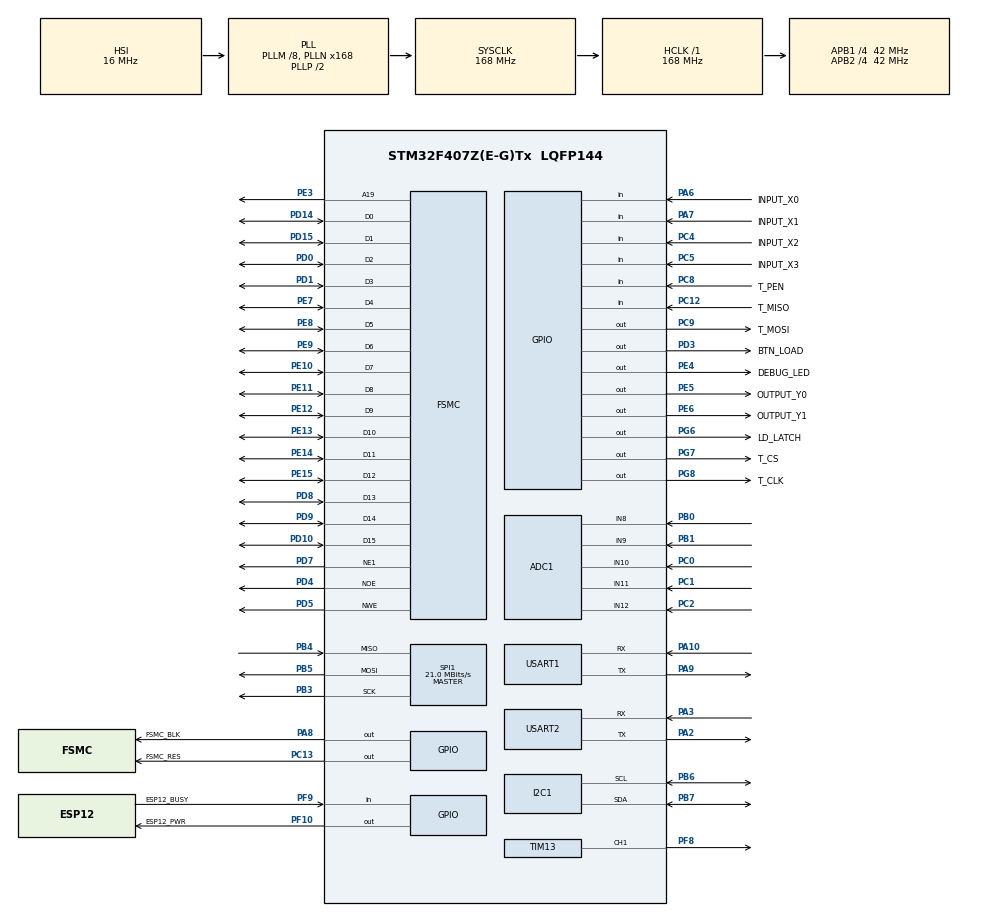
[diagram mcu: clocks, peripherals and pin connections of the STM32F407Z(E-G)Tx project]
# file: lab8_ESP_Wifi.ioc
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ADC1.Channel-0\#ChannelRegularConversion=ADC_CHANNEL_8
ADC1.Channel-1\#ChannelRegularConversion=ADC_CHANNEL_9
ADC1.Channel-2\#ChannelRegularConversion=ADC_CHANNEL_10
ADC1.Channel-3\#ChannelRegularConversion=ADC_CHANNEL_11
ADC1.Channel-4\#ChannelRegularConversion=ADC_CHANNEL_12
ADC1.NbrOfConversion=5
ADC1.NbrOfConversionFlag=1
ADC1.Rank-0\#ChannelRegularConversion=1
ADC1.Rank-1\#ChannelRegularConversion=2
ADC1.Rank-2\#ChannelRegularConversion=3
ADC1.Rank-3\#ChannelRegularConversion=4
ADC1.Rank-4\#ChannelRegularConversion=5
ADC1.SamplingTime-0\#ChannelRegularConversion=ADC_SAMPLETIME_3CYCLES
ADC1.SamplingTime-1\#ChannelRegularConversion=ADC_SAMPLETIME_3CYCLES
ADC1.SamplingTime-2\#ChannelRegularConversion=ADC_SAMPLETIME_3CYCLES
ADC1.SamplingTime-3\#ChannelRegularConversion=ADC_SAMPLETIME_3CYCLES
ADC1.SamplingTime-4\#ChannelRegularConversion=ADC_SAMPLETIME_3CYCLES
ADC1.ScanConvMode=ENABLE
ADC1.master=1
Dma.ADC1.0.Direction=DMA_PERIPH_TO_MEMORY
Dma.ADC1.0.FIFOMode=DMA_FIFOMODE_DISABLE
Dma.ADC1.0.Instance=DMA2_Stream0
Dma.ADC1.0.MemDataAlignment=DMA_MDATAALIGN_HALFWORD
Dma.ADC1.0.MemInc=DMA_MINC_ENABLE
Dma.ADC1.0.Mode=DMA_CIRCULAR
Dma.ADC1.0.PeriphDataAlignment=DMA_PDATAALIGN_HALFWORD
Dma.ADC1.0.PeriphInc=DMA_PINC_DISABLE
Dma.ADC1.0.Priority=DMA_PRIORITY_LOW
Dma.Request0=ADC1
FSMC.AddressSetupTime1=0xf
FSMC.BusTurnAroundDuration1=0
FSMC.DataSetupTime1=60
FSMC.ExtendedAddressSetupTime1=8
FSMC.ExtendedBusTurnAroundDuration1=0
FSMC.ExtendedDataSetupTime1=9
FSMC.ExtendedMode1=FSMC_EXTENDED_MODE_ENABLE
I2C1.I2C_Mode=I2C_Standard
Mcu.Family=STM32F4
Mcu.Name=STM32F407Z(E-G)Tx
Mcu.Package=LQFP144
NVIC.DMA2_Stream0_IRQn=true\:0\:0\:false\:false\:true\:false\:true
NVIC.PriorityGroup=NVIC_PRIORITYGROUP_4
NVIC.TIM2_IRQn=true\:0\:0\:false\:false\:true\:true\:true
NVIC.USART1_IRQn=true\:0\:0\:false\:false\:true\:true\:true
NVIC.USART2_IRQn=true\:0\:0\:false\:false\:true\:true\:true
PA10.Mode=Asynchronous
PA10.Signal=USART1_RX
PA13.Mode=Serial_Wire
PA13.Signal=SYS_JTMS-SWDIO
PA14.Mode=Serial_Wire
PA14.Signal=SYS_JTCK-SWCLK
PA2.Mode=Asynchronous
PA2.Signal=USART2_TX
PA3.Mode=Asynchronous
PA3.Signal=USART2_RX
PA6.GPIO_Label=INPUT_X0
PA6.Signal=GPIO_Input
PA7.GPIO_Label=INPUT_X1
PA7.Signal=GPIO_Input
PA8.GPIO_Label=FSMC_BLK
PA8.Signal=GPIO_Output
PA9.Mode=Asynchronous
PA9.Signal=USART1_TX
PB0.Signal=ADCx_IN8
PB1.Signal=ADCx_IN9
PB3.Mode=Full_Duplex_Master
PB3.Signal=SPI1_SCK
PB4.Mode=Full_Duplex_Master
PB4.Signal=SPI1_MISO
PB5.Mode=Full_Duplex_Master
PB5.Signal=SPI1_MOSI
PB6.Mode=I2C
PB6.Signal=I2C1_SCL
PB7.Mode=I2C
PB7.Signal=I2C1_SDA
PC0.Signal=ADCx_IN10
PC1.Signal=ADCx_IN11
PC12.GPIO_Label=T_MISO
PC12.GPIO_PuPd=GPIO_PULLUP
PC12.Signal=GPIO_Input
PC13-ANTI_TAMP.GPIO_Label=FSMC_RES
PC13-ANTI_TAMP.Signal=GPIO_Output
PC2.Signal=ADCx_IN12
PC4.GPIO_Label=INPUT_X2
PC4.Signal=GPIO_Input
PC5.GPIO_Label=INPUT_X3
PC5.Signal=GPIO_Input
PC8.GPIO_Label=T_PEN
PC8.GPIO_PuPd=GPIO_PULLUP
PC8.Signal=GPIO_Input
PC9.GPIO_Label=T_MOSI
PC9.Signal=GPIO_Output
PD0.Signal=FSMC_D2_DA2
PD1.Signal=FSMC_D3_DA3
PD10.Signal=FSMC_D15_DA15
PD14.Signal=FSMC_D0_DA0
PD15.Signal=FSMC_D1_DA1
PD3.GPIO_Label=BTN_LOAD
PD3.Signal=GPIO_Output
PD4.Signal=FSMC_NOE
PD5.Signal=FSMC_NWE
PD7.Mode=NorPsramChipSelect1_1
PD7.Signal=FSMC_NE1
PD8.Signal=FSMC_D13_DA13
PD9.Signal=FSMC_D14_DA14
PE10.Signal=FSMC_D7_DA7
PE11.Signal=FSMC_D8_DA8
PE12.Signal=FSMC_D9_DA9
PE13.Signal=FSMC_D10_DA10
PE14.Signal=FSMC_D11_DA11
PE15.Signal=FSMC_D12_DA12
PE3.Signal=FSMC_A19
PE4.GPIO_Label=DEBUG_LED
PE4.Signal=GPIO_Output
PE5.GPIO_Label=OUTPUT_Y0
PE5.Signal=GPIO_Output
PE6.GPIO_Label=OUTPUT_Y1
PE6.Signal=GPIO_Output
PE7.Signal=FSMC_D4_DA4
PE8.Signal=FSMC_D5_DA5
PE9.Signal=FSMC_D6_DA6
PF10.GPIO_Label=ESP12_PWR
PF10.Signal=GPIO_Output
PF8.Signal=S_TIM13_CH1
PF9.GPIO_Label=ESP12_BUSY
PF9.Signal=GPIO_Input
PG6.GPIO_Label=LD_LATCH
PG6.Signal=GPIO_Output
PG7.GPIO_Label=T_CS
PG7.Signal=GPIO_Output
PG8.GPIO_Label=T_CLK
PG8.Signal=GPIO_Output
PH0-OSC_IN.Mode=HSE-External-Oscillator
PH0-OSC_IN.Signal=RCC_OSC_IN
PH1-OSC_OUT.Mode=HSE-External-Oscillator
PH1-OSC_OUT.Signal=RCC_OSC_OUT
ProjectManager.HeapSize=0x200
ProjectManager.StackSize=0x400
ProjectManager.TargetToolchain=STM32CubeIDE
RCC.48MHZClocksFreq_Value=84000000
RCC.AHBFreq_Value=168000000
RCC.APB1CLKDivider=RCC_HCLK_DIV4
RCC.APB1Freq_Value=42000000
RCC.APB1TimFreq_Value=84000000
RCC.APB2CLKDivider=RCC_HCLK_DIV4
RCC.APB2Freq_Value=42000000
RCC.APB2TimFreq_Value=84000000
RCC.CortexFreq_Value=168000000
RCC.HCLKFreq_Value=168000000
RCC.HSE_VALUE=8000000
RCC.HSI_VALUE=16000000
RCC.LSE_VALUE=32768
RCC.PLLM=8
RCC.PLLN=168
RCC.SYSCLKFreq_VALUE=168000000
RCC.SYSCLKSource=RCC_SYSCLKSOURCE_PLLCLK
RCC.VCOOutputFreq_Value=336000000
SH.ADCx_IN10.0=ADC1_IN10,IN10
SH.ADCx_IN11.0=ADC1_IN11,IN11
SH.ADCx_IN12.0=ADC1_IN12,IN12
SH.ADCx_IN8.0=ADC1_IN8,IN8
SH.ADCx_IN9.0=ADC1_IN9,IN9
SH.FSMC_A19.0=FSMC_A19,A19_1
SH.FSMC_D0_DA0.0=FSMC_D0,16b-d1
SH.FSMC_D10_DA10.0=FSMC_D10,16b-d1
SH.FSMC_D11_DA11.0=FSMC_D11,16b-d1
SH.FSMC_D12_DA12.0=FSMC_D12,16b-d1
SH.FSMC_D13_DA13.0=FSMC_D13,16b-d1
SH.FSMC_D14_DA14.0=FSMC_D14,16b-d1
SH.FSMC_D15_DA15.0=FSMC_D15,16b-d1
SH.FSMC_D1_DA1.0=FSMC_D1,16b-d1
SH.FSMC_D2_DA2.0=FSMC_D2,16b-d1
SH.FSMC_D3_DA3.0=FSMC_D3,16b-d1
SH.FSMC_D4_DA4.0=FSMC_D4,16b-d1
SH.FSMC_D5_DA5.0=FSMC_D5,16b-d1
SH.FSMC_D6_DA6.0=FSMC_D6,16b-d1
SH.FSMC_D7_DA7.0=FSMC_D7,16b-d1
SH.FSMC_D8_DA8.0=FSMC_D8,16b-d1
SH.FSMC_D9_DA9.0=FSMC_D9,16b-d1
SH.FSMC_NOE.0=FSMC_NOE,Lcd1
SH.FSMC_NWE.0=FSMC_NWE,Lcd1
SH.S_TIM13_CH1.0=TIM13_CH1,PWM Generation1 CH1
SPI1.BaudRatePrescaler=SPI_BAUDRATEPRESCALER_2
SPI1.CalculateBaudRate=21.0 MBits/s
SPI1.Direction=SPI_DIRECTION_2LINES
SPI1.Mode=SPI_MODE_MASTER
SPI1.VirtualType=VM_MASTER
TIM1.Prescaler=84-1
TIM13.Channel=TIM_CHANNEL_1
TIM13.Period=100-1
TIM13.Prescaler=840-1
TIM2.Period=100-1
TIM2.Prescaler=840-1
USART1.VirtualMode=VM_ASYNC
USART2.VirtualMode=VM_ASYNC
VP_TIM13_VS_ClockSourceINT.Mode=Enable_Timer
VP_TIM1_VS_ClockSourceINT.Mode=Internal
VP_TIM2_VS_ClockSourceINT.Mode=Internal
board=custom

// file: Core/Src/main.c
/* USER CODE BEGIN Header */
/**
  ******************************************************************************
  * @file           : main.c
  * @brief          : Main program body
  ******************************************************************************
  * @attention
  *
  * <h2><center>&copy; Copyright (c) 2023 STMicroelectronics.
  * All rights reserved.</center></h2>
  *
  * This software component is licensed by ST under BSD 3-Clause license,
  * the "License"; You may not use this file except in compliance with the
  * License. You may obtain a copy of the License at:
  *                        opensource.org/licenses/BSD-3-Clause
  *
  ******************************************************************************
  */
/* USER CODE END Header */
#include "main.h"
#include "adc.h"
#include "dma.h"
#include "i2c.h"
#include "spi.h"
#include "tim.h"
#include "usart.h"
#include "gpio.h"
#include "fsmc.h"

/* USER CODE BEGIN Includes */
#include "software_timer.h"
#include "led_7seg.h"
#include "button.h"
#include "lcd.h"
#include "picture.h"
#include "ds3231.h"
#include "sensor.h"
#include "buzzer.h"
#include "touch.h"
#include "uart.h"
#include "light_control.h"
#include "math.h"
/* USER CODE END Includes */

/* USER CODE BEGIN PM */
#define READ_TEMP_CYCLE 	600 // 30s, because software timer2 cycle is 50ms
#define WAIT_ESP_INIT		0
#define SEND_TEMPERATURE	1

/* USER CODE END PM */

/* USER CODE BEGIN PV */
uint8_t system_status = WAIT_ESP_INIT;

/* USER CODE END PV */

void SystemClock_Config(void);
/* USER CODE BEGIN PFP */
void system_init();
void test_LedDebug();
void sendTemperatureToESP();
/* USER CODE END PFP */

int main(void)
{

  /* MCU Configuration--------------------------------------------------------*/

  /* Reset of all peripherals, Initializes the Flash interface and the Systick. */
  HAL_Init();

  /* Configure the system clock */
  SystemClock_Config();

  /* Initialize all configured peripherals */
  MX_GPIO_Init();
  MX_DMA_Init();
  MX_SPI1_Init();
  MX_FSMC_Init();
  MX_I2C1_Init();
  MX_TIM13_Init();
  MX_TIM2_Init();
  MX_ADC1_Init();
  MX_TIM1_Init();
  MX_USART2_UART_Init();
  MX_USART1_UART_Init();
  /* USER CODE BEGIN 2 */
  system_init();
  /* USER CODE END 2 */

  /* Infinite loop */
  /* USER CODE BEGIN WHILE */
  lcd_Clear(BLACK);
  while (1)
  {
	  // 50ms task
	  if(flag_timer2)
	  {
		  flag_timer2 = 0;
		  test_LedDebug();
		  switch (system_status)
		  {
		  case WAIT_ESP_INIT:
			  if (GPIO_PIN_RESET == HAL_GPIO_ReadPin(ESP12_BUSY_GPIO_Port, ESP12_BUSY_Pin))
			  {
				  system_status = SEND_TEMPERATURE;
			  }
			  break;
		  case SEND_TEMPERATURE:
			  sendTemperatureToESP();
			  break;
		  }
	  }

    /* USER CODE END WHILE */

  }
}

void SystemClock_Config(void)
{
  RCC_OscInitTypeDef RCC_OscInitStruct = {0};
  RCC_ClkInitTypeDef RCC_ClkInitStruct = {0};

  /** Configure the main internal regulator output voltage
  */
  __HAL_RCC_PWR_CLK_ENABLE();
  __HAL_PWR_VOLTAGESCALING_CONFIG(PWR_REGULATOR_VOLTAGE_SCALE1);

  /** Initializes the RCC Oscillators according to the specified parameters
  * in the RCC_OscInitTypeDef structure.
  */
  RCC_OscInitStruct.OscillatorType = RCC_OSCILLATORTYPE_HSI;
  RCC_OscInitStruct.HSIState = RCC_HSI_ON;
  RCC_OscInitStruct.HSICalibrationValue = RCC_HSICALIBRATION_DEFAULT;
  RCC_OscInitStruct.PLL.PLLState = RCC_PLL_ON;
  RCC_OscInitStruct.PLL.PLLSource = RCC_PLLSOURCE_HSI;
  RCC_OscInitStruct.PLL.PLLM = 8;
  RCC_OscInitStruct.PLL.PLLN = 168;
  RCC_OscInitStruct.PLL.PLLP = RCC_PLLP_DIV2;
  RCC_OscInitStruct.PLL.PLLQ = 4;
  if (HAL_RCC_OscConfig(&RCC_OscInitStruct) != HAL_OK)
  {
    Error_Handler();
  }

  /** Initializes the CPU, AHB and APB buses clocks
  */
  RCC_ClkInitStruct.ClockType = RCC_CLOCKTYPE_HCLK|RCC_CLOCKTYPE_SYSCLK
                              |RCC_CLOCKTYPE_PCLK1|RCC_CLOCKTYPE_PCLK2;
  RCC_ClkInitStruct.SYSCLKSource = RCC_SYSCLKSOURCE_PLLCLK;
  RCC_ClkInitStruct.AHBCLKDivider = RCC_SYSCLK_DIV1;
  RCC_ClkInitStruct.APB1CLKDivider = RCC_HCLK_DIV4;
  RCC_ClkInitStruct.APB2CLKDivider = RCC_HCLK_DIV4;

  if (HAL_RCC_ClockConfig(&RCC_ClkInitStruct, FLASH_LATENCY_5) != HAL_OK)
  {
    Error_Handler();
  }
}

/* USER CODE BEGIN 4 */
void system_init(){
	  timer_init();
	  button_init();
	  sensor_init();
	  lcd_init();
	  uart_init_esp();
	  setTimer2(50);
}

uint8_t count_led_debug = 0;
void test_LedDebug(){
	count_led_debug = (count_led_debug + 1)%20;
	if(count_led_debug == 0){
		HAL_GPIO_TogglePin(DEBUG_LED_GPIO_Port, DEBUG_LED_Pin);
	}
}

char msg[50];
void sendTemperatureToESP() {
	float temperature = sensor_GetTemperature(); //Get value

	sniprintf(msg, sizeof(msg), "!TEMP:%.2f#", temperature); //Format

	uart_Rs232SendString((uint8_t*)msg); //Send
}
/* USER CODE END 4 */

void Error_Handler(void)
{
  __disable_irq();
  while (1)
  {
  }
}
